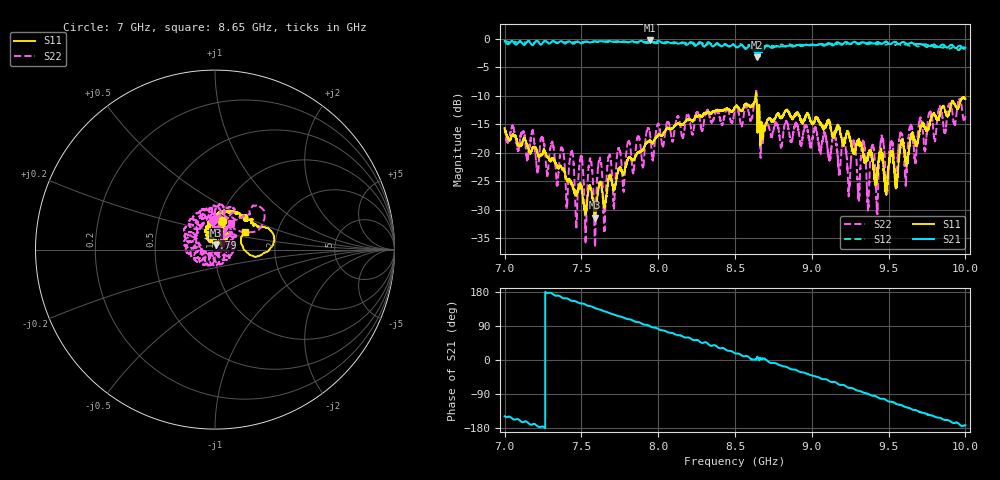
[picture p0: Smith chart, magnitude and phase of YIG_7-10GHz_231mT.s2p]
#  HZ  S  RI  R  50.0
! Rohde & Schwarz ZVL13 2Ports - Version 3.31 - 1303.6509k13 SN: 101088
! Date: 2023-03-06 15:28:55
! Data & Calibration Information:
! Trc4:S11(TOSM) Trc2:S21(TOSM) Trc3:S12(TOSM) Trc5:S22(TOSM)
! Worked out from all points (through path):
!   4000 points, 7 GHz to 10 GHz, reference 50 ohm
!   highest |S21| = -0.33 dB at 7.944 GHz (marker M1); lowest = -3.3 dB at 8.641 GHz (marker M2)
!   group delay of S21, straight-line fit = 357 ps
!   lowest |S11| = -31.4 dB at 7.587 GHz (marker M3), VSWR 1.06, Z = 50.4 + j2.66 ohm
!   |S11| at or under -10 dB: start of sweep to 8.634 GHz; 8.64 GHz to end of sweep
!   |S22| runs from -36.4 to -9.1 dB; largest |S21 - S12| = 0.11
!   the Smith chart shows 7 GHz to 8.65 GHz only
!   S11 on the Smith chart (normalised r, x): 7 GHz: 1.02, +0.33; 7.79 GHz: 0.91, +0.12; 8.65 GHz: 1.37, +0.28
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7e9  0.0363 0.1594  -0.811 -0.4961  -0.7709 -0.5372  -0.0136 0.1649
7.374344e9  0.0492 0.0524  -0.9068 0.2547  -0.909 0.2411  0.1059 0.033
7.405851e9  0.0396 0.0413  -0.8804 0.2761  -0.8908 0.2864  0.0373 -0.00357
7.435859e9  0.0358 0.0413  -0.8395 0.3704  -0.8575 0.3653  0.1008 -0.00824
7.467367e9  0.0313 0.0315  -0.8421 0.406  -0.841 0.4161  0.0214 -0.00543
7.500375e9  0.0219 0.0466  -0.7781 0.4664  -0.7934 0.4838  0.0828 -0.0422
7.525131e9  0.0135 0.0262  -0.7828 0.5221  -0.7754 0.5283  0.0212 -0.00705
7.55814e9  0.00681 0.0498  -0.7293 0.5694  -0.7224 0.5861  0.0376 -0.0799
7.586647e9  0.00497 0.0264  -0.6961 0.641  -0.69 0.6402  0.00844 -0.0141
7.618155e9  -0.00376 0.0547  -0.6514 0.6875  -0.6349 0.6821  -0.00776 -0.0872
7.649662e9  -0.00604 0.0338  -0.5853 0.7379  -0.5833 0.7381  -0.00473 -0.0201
7.67967e9  -0.0134 0.06  -0.5383 0.7864  -0.5349 0.7652  -0.0458 -0.0828
7.710428e9  -0.021 0.0435  -0.4759 0.8112  -0.4665 0.8116  -0.0191 -0.029
7.789947e9  -0.0408 0.0647  -0.3054 0.8865  -0.3243 0.8728  -0.0933 -0.00746
7.943736e9  -0.0315 0.122  0.00431 0.9626  -0.0179 0.9224  -0.1505 -0.0204
8e9  -0.0357 0.1399  0.1326 0.9441  0.0971 0.9111  -0.1738 0.0433
8.500375e9  0.1685 0.1861  0.8224 0.2656  0.8115 0.2709  0.0488 0.2319
8.64141e9  0.2745 -0.0184  0.6841 0.0579  0.6612 0.0449  0.2696 0.1565
8.650413e9  0.1671 0.0981  0.7945 0.0737  0.8406 0.0913  0.0885 0.1508
9e9  0.1833 0.0189  0.665 -0.5716  0.6757 -0.5798  0.1217 -0.0197
9.500375e9  0.075 0.0101  -0.3047 -0.8555  -0.2691 -0.8562  -0.0724 0.0292
1e10  0.2718 0.1164  -0.8238 -0.1103  -0.8039 -0.0792  0.1299 0.1638
